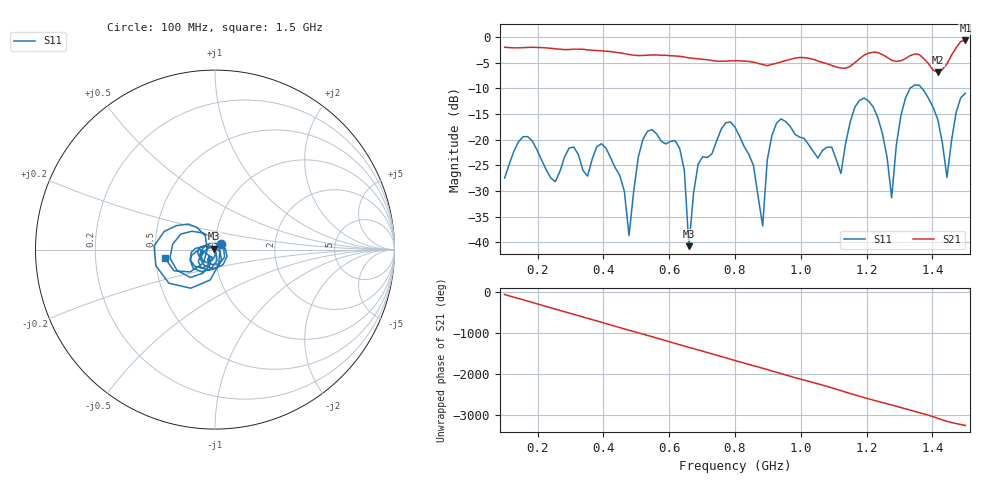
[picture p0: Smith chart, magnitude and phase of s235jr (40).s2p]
! NanoVNA-App
! Date: 2025-09-25 15:04:28
! Start: 100MHz Stop: 1,5GHz Points: 101
! S-Parameter data: F S11 S21 S12 S22
# Hz S RI R 50
!  Frequency  S11_Real  S11_Imag  S21_Real  S21_Imag  S12_Real  S12_Imag  S22_Real  S22_Imag
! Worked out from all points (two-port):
!   101 points, 100 MHz to 1.5 GHz, reference 50 ohm
!   highest |S21| = -0.64 dB at 1.5 GHz (marker M1); lowest = -6.8 dB at 1.416 GHz (marker M2)
!   |S21| within 3 dB of the highest: start of sweep to 611.5 MHz; 1.19 GHz to 1.254 GHz (64.65 MHz wide, 5.29 % of centre) (the widest 2 of 4)
!   lowest |S11| = -40.8 dB at 660 MHz (marker M3), VSWR 1.02, Z = 49.3 + j0.567 ohm
!   |S11| at or under -10 dB: start of sweep to 1.332 GHz; 1.368 GHz to end of sweep
!   S12 and S22 are empty: the file has one direction only
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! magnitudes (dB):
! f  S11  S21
! 100 MHz  -27.5  -2.0
! 156 MHz  -19.4  -2.0
! 338 MHz  -26.0  -2.4
! 408 MHz  -21.6  -2.7
! 478 MHz  -38.7  -3.4
! 520 MHz  -20.0  -3.6
! 576 MHz  -20.3  -3.5
! 632 MHz  -21.7  -3.7
! 660 MHz  -40.8  -4.0
! 688 MHz  -24.7  -4.2
! 800 MHz  -17.5  -4.6
! 884 MHz  -36.8  -5.3
! 898 MHz  -24.0  -5.6
! 926 MHz  -16.8  -5.1
! 1.038 GHz  -22.3  -4.3
! 1.122 GHz  -26.6  -6.0
! 1.192 GHz  -11.9  -3.5
! 1.276 GHz  -31.3  -4.5
! 1.332 GHz  -10.0  -3.6
! 1.416 GHz  -16.0  -6.8
! 1.444 GHz  -27.3  -5.2
! 1.5 GHz  -10.9  -0.6
